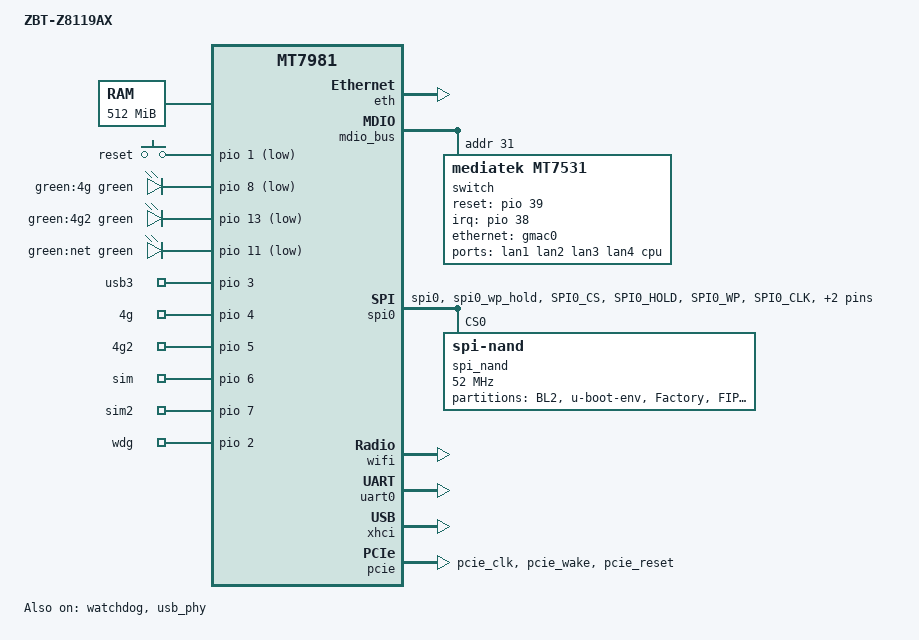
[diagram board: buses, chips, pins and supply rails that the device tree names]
// SPDX-License-Identifier: GPL-2.0-or-later OR MIT

/dts-v1/;

#include "mt7981.dtsi"
#include <dt-bindings/gpio/gpio.h>
#include <dt-bindings/input/input.h>
#include <dt-bindings/leds/common.h>

/ {
	model = "ZBT-Z8119AX";
	compatible = "zbtlink,z8119ax", "mediatek,mt7981";

	aliases {
		serial0 = &uart0;
		label-mac-device = &gmac0;
		led-boot = &led_net;
		led-failsafe = &led_net;
		led-running = &led_net;
		led-upgrade = &led_net;
	};

	chosen {
		stdout-path = "serial0:115200n8";
		bootargs = "console=ttyS0,115200n1 loglevel=8 earlycon=uart8250,mmio32,0x11002000 ipv6.disable=1";
	};

	memory {
		/* 保持 512MB 配置 */
		reg = <0 0x40000000 0 0x20000000>;
	};

	gpio-keys {
		compatible = "gpio-keys";
		reset {
			label = "reset";
			linux,code = <KEY_RESTART>;
			gpios = <&pio 1 GPIO_ACTIVE_LOW>;
		};
	};

	leds {
		compatible = "gpio-leds";
		led_4g: 4g {
			label = "green:4g";
			gpios = <&pio 8 GPIO_ACTIVE_LOW>;
			color = <LED_COLOR_ID_GREEN>;
			function = LED_FUNCTION_WAN;
		};
		led_4g2: 4g2 {
			label = "green:4g2";
			gpios = <&pio 13 GPIO_ACTIVE_LOW>;
			color = <LED_COLOR_ID_GREEN>;
			function = LED_FUNCTION_WAN;
			function-enumerator = <1>;
		};
		led_net: net {
			label = "green:net";
			gpios = <&pio 11 GPIO_ACTIVE_LOW>;
			color = <LED_COLOR_ID_GREEN>;
			function = LED_FUNCTION_STATUS;
		};
	};

	gpio-export {
		compatible = "gpio-export";
		#size-cells = <0>;
		usb3 {
			gpio-export,name = "usb3";
			gpio-export,output = <1>;
			gpios = <&pio 3 GPIO_ACTIVE_HIGH>;
		};
		4g {
			gpio-export,name = "4g";
			gpio-export,output = <1>;
			gpios = <&pio 4 GPIO_ACTIVE_HIGH>;
		};
		4g2 {
			gpio-export,name = "4g2";
			gpio-export,output = <1>;
			gpios = <&pio 5 GPIO_ACTIVE_HIGH>;
		};
		sim {
			gpio-export,name = "sim";
			gpio-export,output = <1>;
			gpios = <&pio 6 GPIO_ACTIVE_HIGH>;
		};
		sim2 {
			gpio-export,name = "sim2";
			gpio-export,output = <1>;
			gpios = <&pio 7 GPIO_ACTIVE_HIGH>;
		};
		wdg {
			gpio-export,name = "wdg";
			gpio-export,output = <1>;
			gpios = <&pio 2 GPIO_ACTIVE_HIGH>;
		};
	};
};

/* 保持：PHY 校准数据引用 */
&int_gbe_phy {
	nvmem-cells = <&factory_phy_cal>;
	nvmem-cell-names = "phy-cal-data";
};

&eth {
	status = "okay";
	gmac0: mac@0 {
		compatible = "mediatek,eth-mac";
		reg = <0>;
		phy-mode = "2500base-x";
		/* 保持：MAC 地址引用 */
		nvmem-cell-names = "mac-address";
		nvmem-cells = <&macaddr_factory_4 2>;
		fixed-link { speed = <2500>; full-duplex; pause; };
	};
	gmac1: mac@1 {
		compatible = "mediatek,eth-mac";
		reg = <1>;
		phy-mode = "gmii";
		phy-handle = <&int_gbe_phy>;
		/* 保持：MAC 地址引用 */
		nvmem-cell-names = "mac-address";
		nvmem-cells = <&macaddr_factory_4 3>;
	};
};

&mdio_bus {
	switch: switch@1f {
		compatible = "mediatek,mt7531";
		reg = <0x1f>;
		reset-gpios = <&pio 39 GPIO_ACTIVE_HIGH>;
		interrupt-controller;
		#interrupt-cells = <1>;
		interrupt-parent = <&pio>;
		interrupts = <38 IRQ_TYPE_LEVEL_HIGH>;
	};
};

&switch {
	ports {
		#address-cells = <1>;
		#size-cells = <0>;
		port@0 { reg = <0>; label = "lan1"; };
		port@1 { reg = <1>; label = "lan2"; };
		port@2 { reg = <2>; label = "lan3"; };
		port@3 { reg = <3>; label = "lan4"; };
		port@6 {
			reg = <6>;
			label = "cpu";
			ethernet = <&gmac0>;
			phy-mode = "2500base-x";
			fixed-link { speed = <2500>; full-duplex; pause; };
		};
	};
};

&spi0 {
	pinctrl-names = "default";
	pinctrl-0 = <&spi0_flash_pins>;
	status = "okay";

	spi_nand: spi_nand@0 {
		compatible = "spi-nand";
		#address-cells = <1>;
		#size-cells = <1>;
		reg = <0>;
		spi-max-frequency = <52000000>;
		spi-tx-bus-width = <4>;
		spi-rx-bus-width = <4>;

		/* 核心修正：NMBM 触发属性移入此处，确保驱动线性加载 */
		mediatek,nmbm;
		mediatek,bmt-max-ratio = <1>;
		mediatek,bmt-max-reserved-blocks = <64>;

		partitions {
			compatible = "fixed-partitions";
			#address-cells = <1>;
			#size-cells = <1>;

			partition@0 {
				label = "BL2";
				reg = <0x00000 0x0100000>;
				read-only;
			};

			partition@100000 {
				label = "u-boot-env";
				reg = <0x0100000 0x0080000>;
			};

			partition@180000 {
				label = "Factory";
				reg = <0x180000 0x0200000>;
				read-only;

				/* 保持：完整的 Factory 内部数据结构 */
				nvmem-layout {
					compatible = "fixed-layout";
					#address-cells = <1>;
					#size-cells = <1>;
					eeprom_factory: eeprom@0 { reg = <0x0 0x1000>; };
					macaddr_factory_4: macaddr@4 {
						compatible = "mac-base";
						reg = <0x4 0x6>;
						#nvmem-cell-cells = <1>;
					};
					factory_phy_cal: cal@400 { reg = <0x400 0x100>; };
				};
			};

			partition@380000 {
				label = "FIP";
				reg = <0x380000 0x0200000>;
				read-only;
			};

			partition@580000 {
				label = "ubi";
				/* 保持：与你刷入固件大小一致的安全偏移 */
				reg = <0x580000 0x6A00000>;
			};
		};
	};
};

/* 保持：Wi-Fi EEPROM 引用 */
&wifi {
	status = "okay";
	nvmem-cells = <&eeprom_factory>;
	nvmem-cell-names = "eeprom";
};

&uart0 { status = "okay"; };
&watchdog { status = "okay"; };
&usb_phy { status = "okay"; };
&xhci { status = "okay"; };

&pio {
	spi0_flash_pins: spi0-pins {
		mux { function = "spi"; groups = "spi0", "spi0_wp_hold"; };
		conf-pu {
			pins = "SPI0_CS", "SPI0_HOLD", "SPI0_WP";
			drive-strength = <MTK_DRIVE_8mA>;
			bias-pull-up = <MTK_PUPD_SET_R1R0_11>;
		};
		conf-pd {
			pins = "SPI0_CLK", "SPI0_MOSI", "SPI0_MISO";
			drive-strength = <MTK_DRIVE_8mA>;
			bias-pull-down = <MTK_PUPD_SET_R1R0_11>;
		};
	};
	pcie_pins: pcie-pins {
		mux { function = "pcie"; groups = "pcie_clk", "pcie_wake", "pcie_reset"; };
	};
};

&pcie {
	pinctrl-names = "default";
	pinctrl-0 = <&pcie_pins>;
	status = "okay";
};
